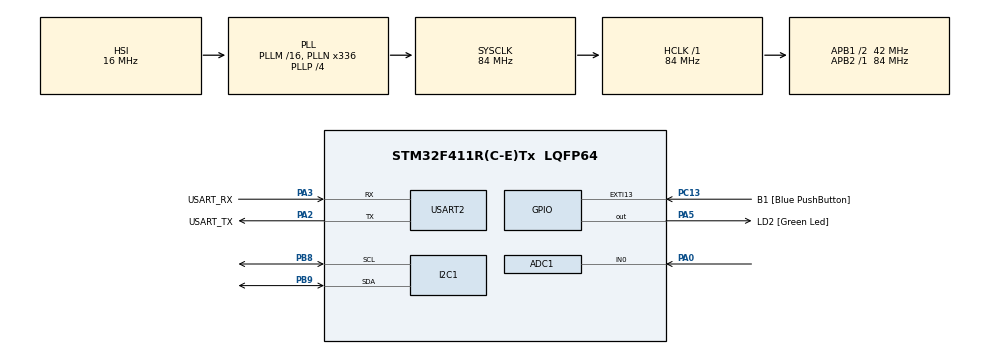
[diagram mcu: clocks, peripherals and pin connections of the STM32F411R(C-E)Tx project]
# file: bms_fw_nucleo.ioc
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ADC1.Channel-0\#ChannelRegularConversion=ADC_CHANNEL_0
ADC1.NbrOfConversionFlag=1
ADC1.Rank-0\#ChannelRegularConversion=1
ADC1.SamplingTime-0\#ChannelRegularConversion=ADC_SAMPLETIME_3CYCLES
ADC1.master=1
I2C1.I2C_Mode=I2C_Fast
Mcu.Family=STM32F4
Mcu.Name=STM32F411R(C-E)Tx
Mcu.Package=LQFP64
NVIC.PriorityGroup=NVIC_PRIORITYGROUP_0
NVIC.TIM2_IRQn=true\:0\:0\:false\:false\:true\:true\:true\:true
NVIC.USART2_IRQn=true\:0\:0\:false\:false\:true\:true\:true\:true
PA0-WKUP.Signal=ADCx_IN0
PA13.GPIO_Label=TMS
PA13.Mode=Serial_Wire
PA13.Signal=SYS_JTMS-SWDIO
PA14.GPIO_Label=TCK
PA14.Mode=Serial_Wire
PA14.Signal=SYS_JTCK-SWCLK
PA2.GPIO_Label=USART_TX
PA2.Mode=Asynchronous
PA2.Signal=USART2_TX
PA3.GPIO_Label=USART_RX
PA3.Mode=Asynchronous
PA3.Signal=USART2_RX
PA5.GPIO_Label=LD2 [Green Led]
PA5.Signal=GPIO_Output
PB3.GPIO_Label=SWO
PB3.Signal=SYS_JTDO-SWO
PB8.Mode=I2C
PB8.Signal=I2C1_SCL
PB9.Mode=I2C
PB9.Signal=I2C1_SDA
PC13-ANTI_TAMP.GPIO_Label=B1 [Blue PushButton]
PC13-ANTI_TAMP.GPIO_ModeDefaultEXTI=GPIO_MODE_IT_FALLING
PC13-ANTI_TAMP.Signal=GPXTI13
PC14-OSC32_IN.Mode=LSE-External-Oscillator
PC14-OSC32_IN.Signal=RCC_OSC32_IN
PC15-OSC32_OUT.Mode=LSE-External-Oscillator
PC15-OSC32_OUT.Signal=RCC_OSC32_OUT
PH0\ -\ OSC_IN.Mode=HSE-External-Clock-Source
PH0\ -\ OSC_IN.Signal=RCC_OSC_IN
PH1\ -\ OSC_OUT.Mode=HSE-External-Clock-Source
PH1\ -\ OSC_OUT.Signal=RCC_OSC_OUT
ProjectManager.HeapSize=0x200
ProjectManager.StackSize=0x400
ProjectManager.TargetToolchain=STM32CubeIDE
RCC.48MHZClocksFreq_Value=84000000
RCC.AHBFreq_Value=84000000
RCC.APB1CLKDivider=RCC_HCLK_DIV2
RCC.APB1Freq_Value=42000000
RCC.APB1TimFreq_Value=84000000
RCC.APB2Freq_Value=84000000
RCC.APB2TimFreq_Value=84000000
RCC.CortexFreq_Value=84000000
RCC.FLatency-AdvancedSettings=FLASH_LATENCY_2
RCC.HCLKFreq_Value=84000000
RCC.HSE_VALUE=8000000
RCC.HSI_VALUE=16000000
RCC.PLLN=336
RCC.PLLP=RCC_PLLP_DIV4
RCC.SYSCLKFreq_VALUE=84000000
RCC.SYSCLKSource=RCC_SYSCLKSOURCE_PLLCLK
RCC.VCOOutputFreq_Value=336000000
SH.ADCx_IN0.0=ADC1_IN0,IN0
TIM2.AutoReloadPreload=TIM_AUTORELOAD_PRELOAD_ENABLE
TIM2.Period=1000-1
TIM2.Prescaler=8400-1
USART2.VirtualMode=VM_ASYNC
VP_TIM2_VS_ClockSourceINT.Mode=Internal
board=NUCLEO-F411RE

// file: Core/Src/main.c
/* USER CODE BEGIN Header */
/**
  ******************************************************************************
  * @file           : main.c
  * @brief          : Main program body
  ******************************************************************************
  * @attention
  *
  * Copyright (c) 2026 STMicroelectronics.
  * All rights reserved.
  *
  * This software is licensed under terms that can be found in the LICENSE file
  * in the root directory of this software component.
  * If no LICENSE file comes with this software, it is provided AS-IS.
  *
  ******************************************************************************
  */
/* USER CODE END Header */
#include "main.h"

/* USER CODE BEGIN Includes */
#include <stdio.h>
#include "soc.h"
#include "bms_display.h"
#include "bms_sensors.h"
#include "bms_io.h"
/* USER CODE END Includes */

/* USER CODE BEGIN PTD */
typedef enum {
  BMS_IDLE = 0,
  BMS_CHARGING,
  BMS_DISCHARGING
} bms_state_t;
/* USER CODE END PTD */

/* USER CODE BEGIN PD */
#define INA228_ADDR 0x40
#define REG_VBUS    0x05
#define I_IDLE_THRESHOLD_A  0.05f  // 전류 크기가 50 mA 이하면 IDLE (임시값)
#define V_FULL_THRESHOLD_V   4.15f  // 만충 판정 전압 (임시값)
#define I_FULL_TERMINATE_A   0.10f  // 충전 종료 전류 (임시값, TP5000 확인 필요)
#define V_EMPTY_THRESHOLD_V  2.50f  // 저전압 임계 (임시값, BQ29700 확인 필요)
/* USER CODE END PD */

ADC_HandleTypeDef hadc1;

I2C_HandleTypeDef hi2c1;

TIM_HandleTypeDef htim2;

UART_HandleTypeDef huart2;

/* USER CODE BEGIN PV */
volatile uint8_t rx_buf = 0;       // HAL이 채우는 자리
volatile uint8_t rx_cmd = 0;       // 처리할 글자
volatile uint8_t rx_new = 0;       // 새 글자 도착 표시
SOC_Module bms_soc;                // SOC 계산 모듈 (soc.c)
volatile uint8_t tick_100ms = 0;
uint32_t tick_count = 0;
bms_state_t bms_state = BMS_IDLE;  // 현재 배터리 상태
uint8_t soc_valid = 0;             // 0이면 SOC 미정 (흐름도의 "SOC 유효?")
/* USER CODE END PV */

void SystemClock_Config(void);
static void MX_GPIO_Init(void);
static void MX_ADC1_Init(void);
static void MX_USART2_UART_Init(void);
static void MX_TIM2_Init(void);
static void MX_I2C1_Init(void);

/* USER CODE BEGIN 0 */
void HAL_TIM_PeriodElapsedCallback(TIM_HandleTypeDef *htim)
{
  if (htim->Instance == TIM2) {
    tick_100ms = 1;
  }
}

/* S: 상태 판정. 전류 크기가 임계값 이하면 IDLE */
static bms_state_t bms_decide_state(float I_A)
{
  if (I_A >  I_IDLE_THRESHOLD_A) return BMS_DISCHARGING;
  if (I_A < -I_IDLE_THRESHOLD_A) return BMS_CHARGING;
  return BMS_IDLE;
}

static const char *bms_state_name(bms_state_t s)
{
  switch (s) {
    case BMS_DISCHARGING: return "DISCHARGING";
    case BMS_CHARGING:    return "CHARGING";
    default:              return "IDLE";
  }
}

/* J: 재동기. 확실히 아는 순간에 SOC를 강제로 맞추고 유효 표시 */
static void bms_resync(float V, float I_A)
{
  float I_abs = (I_A < 0.0f) ? -I_A : I_A;

  if (V >= V_FULL_THRESHOLD_V && I_abs <= I_FULL_TERMINATE_A) {
    bms_soc.soc_percent = 100.0f;      // 만충
    soc_valid = 1;
  } else if (bms_state == BMS_DISCHARGING && V <= V_EMPTY_THRESHOLD_V) {
    bms_soc.soc_percent = 0.0f;        // 완전 방전
    soc_valid = 1;
  }
}
/* UART로 한 글자 받을 때마다 자동 호출 */
void HAL_UART_RxCpltCallback(UART_HandleTypeDef *huart)
{
  if (huart->Instance == USART2) {
    rx_cmd = rx_buf;
    rx_new = 1;
    HAL_UART_Receive_IT(&huart2, (uint8_t *)&rx_buf, 1);   // 다음 글자 준비
  }
}

/* I2C 버스 스캔: 어떤 주소가 응답하는지 확인 (배선/주소 점검용) */
static void bms_i2c_scan(void)
{
  uint8_t found = 0;
  printf("[I2C scan] SCL=PB8 SDA=PB9, 7bit addr 0x03~0x77\r\n");
  for (uint8_t a = 0x03; a <= 0x77; a++) {
    if (HAL_I2C_IsDeviceReady(&hi2c1, (uint16_t)(a << 1), 2, 5) == HAL_OK) {
      printf("  응답: 0x%02X\r\n", a);
      found++;
    }
  }
  if (found == 0) {
    printf("  응답 없음. 배선(SCL/SDA 바뀜, GND, VCC) 확인 필요\r\n");
  } else {
    printf("  총 %d개 (OLED=0x3C 또는 0x3D, INA228=0x40)\r\n", found);
  }
}

/* I2C 선 상태 점검: SCL/SDA가 High로 떠 있는지(풀업·전원 확인) */
static void bms_i2c_pincheck(void)
{
  GPIO_InitTypeDef g = {0};
  HAL_I2C_DeInit(&hi2c1);                       /* 핀을 일반 입력으로 되돌리기 */

  g.Pin = GPIO_PIN_8 | GPIO_PIN_9;
  g.Mode = GPIO_MODE_INPUT;
  g.Speed = GPIO_SPEED_FREQ_LOW;

  g.Pull = GPIO_NOPULL;                         /* 외부 풀업만으로 High인지 */
  HAL_GPIO_Init(GPIOB, &g);
  HAL_Delay(2);
  int scl_ext = HAL_GPIO_ReadPin(GPIOB, GPIO_PIN_8);
  int sda_ext = HAL_GPIO_ReadPin(GPIOB, GPIO_PIN_9);

  g.Pull = GPIO_PULLDOWN;                       /* 내부 풀다운으로 눌러도 High면 강한 외부 풀업 */
  HAL_GPIO_Init(GPIOB, &g);
  HAL_Delay(2);
  int scl_pd = HAL_GPIO_ReadPin(GPIOB, GPIO_PIN_8);
  int sda_pd = HAL_GPIO_ReadPin(GPIOB, GPIO_PIN_9);

  printf("[핀 점검] 외부풀업만: SCL=%d SDA=%d / 내부풀다운: SCL=%d SDA=%d\r\n",
         scl_ext, sda_ext, scl_pd, sda_pd);
  if (scl_ext == 0 && sda_ext == 0) {
    printf("  둘 다 Low -> 모듈 전원이 없거나 선이 닿지 않음 (또는 GND 단락)\r\n");
  } else if (scl_pd == 1 && sda_pd == 1) {
    printf("  외부 풀업 있음 -> 배선·전원 정상. 주소나 모듈 쪽 문제\r\n");
  } else {
    printf("  풀업이 약함 -> 'u'로 내부 풀업 켜고 100 kHz로 재시도해 보세요\r\n");
  }

  MX_I2C1_Init();                               /* I2C 원복 */
}

/* 내부 풀업을 켜고 100 kHz로 낮춰서 I2C 재설정 (외부 풀업이 없을 때 시험용) */
static void bms_i2c_internal_pullup(void)
{
  GPIO_InitTypeDef g = {0};
  HAL_I2C_DeInit(&hi2c1);
  hi2c1.Init.ClockSpeed = 100000;
  HAL_I2C_Init(&hi2c1);

  g.Pin = GPIO_PIN_8 | GPIO_PIN_9;
  g.Mode = GPIO_MODE_AF_OD;
  g.Pull = GPIO_PULLUP;                         /* 내부 풀업 (약 40k) */
  g.Speed = GPIO_SPEED_FREQ_VERY_HIGH;
  g.Alternate = GPIO_AF4_I2C1;
  HAL_GPIO_Init(GPIOB, &g);

  printf("[I2C] 내부 풀업 ON, 100 kHz로 변경\r\n");
}

/* 키 입력 처리. 수동 모드에서는 시나리오 대신 지정한 값을 사용 */
static void bms_handle_command(uint8_t c)
{
  switch (c) {
    case 'd': bms_sensors_dummy_set_current( 0.84f); break;
    case 'c': bms_sensors_dummy_set_current(-1.50f); break;
    case 'i': bms_sensors_dummy_set_current( 0.00f); break;
    case '+': bms_sensors_dummy_adjust_voltage(+0.10f); break;
    case '-': bms_sensors_dummy_adjust_voltage(-0.10f); break;
    case 'a': bms_sensors_dummy_manual(0); break;
    case 'r': soc_valid = 0; bms_soc.soc_percent = 0.0f; break;
    case 's': bms_i2c_scan(); return;
    case 'p': bms_i2c_pincheck(); return;
    case 'u': bms_i2c_internal_pullup(); bms_i2c_scan(); return;
    case 'o': printf("[OLED] 재검색: %s\r\n", bms_display_init() ? "found" : "not found"); return;
    case 'h': printf("[명령] d=방전 c=충전 i=대기 +/-=전압조절 a=자동 r=SOC미정 s=I2C스캔 p=핀점검 u=내부풀업 o=OLED재검색\r\n"); return;
    default:  return;
  }
  printf("[입력 %c] 모드=%s V=%dmV I=%dmA\r\n", c,
         bms_sensors_dummy_is_manual() ? "수동" : "자동",
         (int)(bms_sensors_read_voltage_V() * 1000.0f),
         (int)(bms_sensors_read_current_A() * 1000.0f));
}
static void bms_task_100ms(void)
{
  tick_count++;
  /* PC에서 키를 눌렀으면 처리 */
    if (rx_new) { rx_new = 0; bms_handle_command(rx_cmd); }

  /* G: 전압, 전류, 온도 읽기 (bms_sensors.h 인터페이스. 지금은 더미 구현) */
  float I_A = bms_sensors_read_current_A();
  float V   = bms_sensors_read_voltage_V();
  float T_C = bms_sensors_read_temp_C(0);

  /* S: 상태 판정 */
  bms_state = bms_decide_state(I_A);

  /* VC + H~I2: SOC가 유효할 때만 적산하고 계산 */
  if (soc_valid) {
    SOC_Update(&bms_soc, -I_A, 0.1f);
  }

  /* J: 재동기 */
  bms_resync(V, I_A);

  /* M: 5회마다(0.5초) 출력. OLED가 있으면 화면에도 그림 */
  if (tick_count % 5 == 0) {
    int v_mv = (int)(V * 1000.0f + 0.5f);
    bms_display_update(V, I_A, T_C, soc_valid, bms_soc.soc_percent, bms_state_name(bms_state));
    if (soc_valid) {
      int soc_x100 = (int)(bms_soc.soc_percent * 100.0f + 0.5f);
      printf("t=%lus V=%dmV I=%dmA %s SOC: %d.%02d %%\r\n",
             tick_count / 10, v_mv, (int)(I_A * 1000.0f),
             bms_state_name(bms_state), soc_x100 / 100, soc_x100 % 100);
    } else {
      printf("t=%lus V=%dmV I=%dmA %s SOC: --\r\n",
             tick_count / 10, v_mv, (int)(I_A * 1000.0f),
             bms_state_name(bms_state));
    }
  }
}
/* USER CODE END 0 */

int main(void)
{

  /* MCU Configuration--------------------------------------------------------*/

  /* Reset of all peripherals, Initializes the Flash interface and the Systick. */
  HAL_Init();

  /* Configure the system clock */
  SystemClock_Config();

  /* Initialize all configured peripherals */
  MX_GPIO_Init();
  MX_ADC1_Init();
  MX_USART2_UART_Init();
  MX_TIM2_Init();
  MX_I2C1_Init();
  /* USER CODE BEGIN 2 */
  bms_io_init();                                          // 충전·방전·DCIR 모두 차단 상태로 시작
  bms_sensors_init();
  HAL_UART_Receive_IT(&huart2, (uint8_t *)&rx_buf, 1);   // 키 입력 받기 시작
  printf("\r\nOLED: %s\r\n", bms_display_init() ? "found" : "not found (UART only)");
    printf("\r\n[명령] d=방전 c=충전 i=대기 +/-=전압조절 a=자동 r=SOC미정 s=I2C스캔 p=핀점검 u=내부풀업 o=OLED재검색 h=도움말\r\n");
  SOC_Init(&bms_soc, 100.0f, 3000.0f);   // 시작 SOC 100%, 용량 3000 mAh (30Q)
  SOC_CalibrateOffset(&bms_soc, 0.0f);   // Zero-Current Offset, 실측 전까지 0
  HAL_TIM_Base_Start_IT(&htim2);
  /* USER CODE END 2 */

  /* Infinite loop */
  /* USER CODE BEGIN WHILE */
  while (1)
  {
	  if (tick_100ms) {
	       tick_100ms = 0;
	       bms_task_100ms();
	     }
    /* USER CODE END WHILE */

  }
}

void SystemClock_Config(void)
{
  RCC_OscInitTypeDef RCC_OscInitStruct = {0};
  RCC_ClkInitTypeDef RCC_ClkInitStruct = {0};

  /** Configure the main internal regulator output voltage
  */
  __HAL_RCC_PWR_CLK_ENABLE();
  __HAL_PWR_VOLTAGESCALING_CONFIG(PWR_REGULATOR_VOLTAGE_SCALE1);

  /** Initializes the RCC Oscillators according to the specified parameters
  * in the RCC_OscInitTypeDef structure.
  */
  RCC_OscInitStruct.OscillatorType = RCC_OSCILLATORTYPE_HSI;
  RCC_OscInitStruct.HSIState = RCC_HSI_ON;
  RCC_OscInitStruct.HSICalibrationValue = RCC_HSICALIBRATION_DEFAULT;
  RCC_OscInitStruct.PLL.PLLState = RCC_PLL_ON;
  RCC_OscInitStruct.PLL.PLLSource = RCC_PLLSOURCE_HSI;
  RCC_OscInitStruct.PLL.PLLM = 16;
  RCC_OscInitStruct.PLL.PLLN = 336;
  RCC_OscInitStruct.PLL.PLLP = RCC_PLLP_DIV4;
  RCC_OscInitStruct.PLL.PLLQ = 4;
  if (HAL_RCC_OscConfig(&RCC_OscInitStruct) != HAL_OK)
  {
    Error_Handler();
  }

  /** Initializes the CPU, AHB and APB buses clocks
  */
  RCC_ClkInitStruct.ClockType = RCC_CLOCKTYPE_HCLK|RCC_CLOCKTYPE_SYSCLK
                              |RCC_CLOCKTYPE_PCLK1|RCC_CLOCKTYPE_PCLK2;
  RCC_ClkInitStruct.SYSCLKSource = RCC_SYSCLKSOURCE_PLLCLK;
  RCC_ClkInitStruct.AHBCLKDivider = RCC_SYSCLK_DIV1;
  RCC_ClkInitStruct.APB1CLKDivider = RCC_HCLK_DIV2;
  RCC_ClkInitStruct.APB2CLKDivider = RCC_HCLK_DIV1;

  if (HAL_RCC_ClockConfig(&RCC_ClkInitStruct, FLASH_LATENCY_2) != HAL_OK)
  {
    Error_Handler();
  }
}

static void MX_ADC1_Init(void)
{

  ADC_ChannelConfTypeDef sConfig = {0};

  /** Configure the global features of the ADC (Clock, Resolution, Data Alignment and number of conversion)
  */
  hadc1.Instance = ADC1;
  hadc1.Init.ClockPrescaler = ADC_CLOCK_SYNC_PCLK_DIV4;
  hadc1.Init.Resolution = ADC_RESOLUTION_12B;
  hadc1.Init.ScanConvMode = DISABLE;
  hadc1.Init.ContinuousConvMode = DISABLE;
  hadc1.Init.DiscontinuousConvMode = DISABLE;
  hadc1.Init.ExternalTrigConvEdge = ADC_EXTERNALTRIGCONVEDGE_NONE;
  hadc1.Init.ExternalTrigConv = ADC_SOFTWARE_START;
  hadc1.Init.DataAlign = ADC_DATAALIGN_RIGHT;
  hadc1.Init.NbrOfConversion = 1;
  hadc1.Init.DMAContinuousRequests = DISABLE;
  hadc1.Init.EOCSelection = ADC_EOC_SINGLE_CONV;
  if (HAL_ADC_Init(&hadc1) != HAL_OK)
  {
    Error_Handler();
  }

  /** Configure for the selected ADC regular channel its corresponding rank in the sequencer and its sample time.
  */
  sConfig.Channel = ADC_CHANNEL_0;
  sConfig.Rank = 1;
  sConfig.SamplingTime = ADC_SAMPLETIME_3CYCLES;
  if (HAL_ADC_ConfigChannel(&hadc1, &sConfig) != HAL_OK)
  {
    Error_Handler();
  }

}

static void MX_I2C1_Init(void)
{

  hi2c1.Instance = I2C1;
  hi2c1.Init.ClockSpeed = 400000;
  hi2c1.Init.DutyCycle = I2C_DUTYCYCLE_2;
  hi2c1.Init.OwnAddress1 = 0;
  hi2c1.Init.AddressingMode = I2C_ADDRESSINGMODE_7BIT;
  hi2c1.Init.DualAddressMode = I2C_DUALADDRESS_DISABLE;
  hi2c1.Init.OwnAddress2 = 0;
  hi2c1.Init.GeneralCallMode = I2C_GENERALCALL_DISABLE;
  hi2c1.Init.NoStretchMode = I2C_NOSTRETCH_DISABLE;
  if (HAL_I2C_Init(&hi2c1) != HAL_OK)
  {
    Error_Handler();
  }

}

static void MX_TIM2_Init(void)
{

  TIM_ClockConfigTypeDef sClockSourceConfig = {0};
  TIM_MasterConfigTypeDef sMasterConfig = {0};

  htim2.Instance = TIM2;
  htim2.Init.Prescaler = 8400-1;
  htim2.Init.CounterMode = TIM_COUNTERMODE_UP;
  htim2.Init.Period = 1000-1;
  htim2.Init.ClockDivision = TIM_CLOCKDIVISION_DIV1;
  htim2.Init.AutoReloadPreload = TIM_AUTORELOAD_PRELOAD_ENABLE;
  if (HAL_TIM_Base_Init(&htim2) != HAL_OK)
  {
    Error_Handler();
  }
  sClockSourceConfig.ClockSource = TIM_CLOCKSOURCE_INTERNAL;
  if (HAL_TIM_ConfigClockSource(&htim2, &sClockSourceConfig) != HAL_OK)
  {
    Error_Handler();
  }
  sMasterConfig.MasterOutputTrigger = TIM_TRGO_RESET;
  sMasterConfig.MasterSlaveMode = TIM_MASTERSLAVEMODE_DISABLE;
  if (HAL_TIMEx_MasterConfigSynchronization(&htim2, &sMasterConfig) != HAL_OK)
  {
    Error_Handler();
  }

}

static void MX_USART2_UART_Init(void)
{

  huart2.Instance = USART2;
  huart2.Init.BaudRate = 115200;
  huart2.Init.WordLength = UART_WORDLENGTH_8B;
  huart2.Init.StopBits = UART_STOPBITS_1;
  huart2.Init.Parity = UART_PARITY_NONE;
  huart2.Init.Mode = UART_MODE_TX_RX;
  huart2.Init.HwFlowCtl = UART_HWCONTROL_NONE;
  huart2.Init.OverSampling = UART_OVERSAMPLING_16;
  if (HAL_UART_Init(&huart2) != HAL_OK)
  {
    Error_Handler();
  }

}

static void MX_GPIO_Init(void)
{
  GPIO_InitTypeDef GPIO_InitStruct = {0};

  /* GPIO Ports Clock Enable */
  __HAL_RCC_GPIOC_CLK_ENABLE();
  __HAL_RCC_GPIOH_CLK_ENABLE();
  __HAL_RCC_GPIOA_CLK_ENABLE();
  __HAL_RCC_GPIOB_CLK_ENABLE();

  /*Configure GPIO pin Output Level */
  HAL_GPIO_WritePin(LD2_GPIO_Port, LD2_Pin, GPIO_PIN_RESET);

  /*Configure GPIO pin : B1_Pin */
  GPIO_InitStruct.Pin = B1_Pin;
  GPIO_InitStruct.Mode = GPIO_MODE_IT_FALLING;
  GPIO_InitStruct.Pull = GPIO_NOPULL;
  HAL_GPIO_Init(B1_GPIO_Port, &GPIO_InitStruct);

  /*Configure GPIO pin : LD2_Pin */
  GPIO_InitStruct.Pin = LD2_Pin;
  GPIO_InitStruct.Mode = GPIO_MODE_OUTPUT_PP;
  GPIO_InitStruct.Pull = GPIO_NOPULL;
  GPIO_InitStruct.Speed = GPIO_SPEED_FREQ_LOW;
  HAL_GPIO_Init(LD2_GPIO_Port, &GPIO_InitStruct);

}

/* USER CODE BEGIN 4 */
#ifdef __GNUC__
#define PUTCHAR_PROTOTYPE int __io_putchar(int ch)
#else
#define PUTCHAR_PROTOTYPE int fputc(int ch, FILE *f)
#endif

PUTCHAR_PROTOTYPE
{
  HAL_UART_Transmit(&huart2, (uint8_t *)&ch, 1, HAL_MAX_DELAY);
  return ch;
}
/* USER CODE END 4 */

void Error_Handler(void)
{
  __disable_irq();
  while (1)
  {
  }
}
